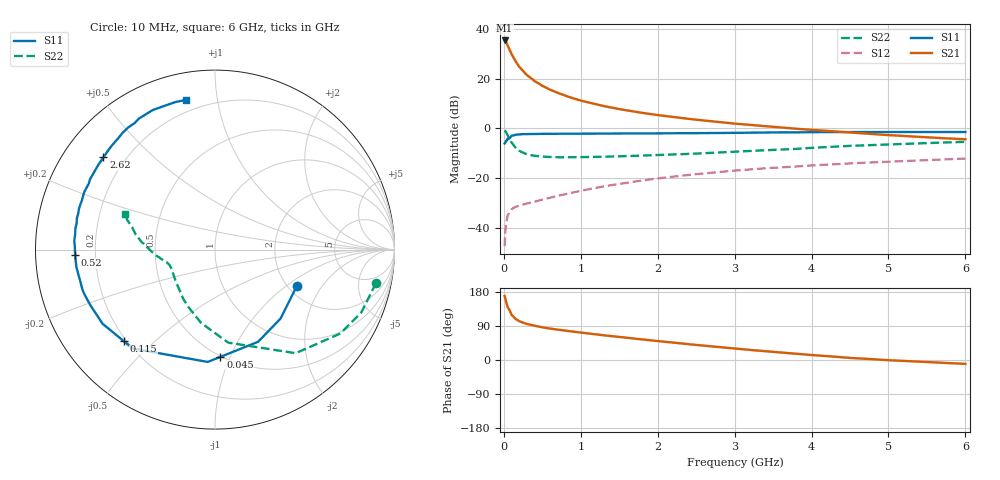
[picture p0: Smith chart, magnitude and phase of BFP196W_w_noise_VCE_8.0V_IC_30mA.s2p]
! (c) 2016  Infineon Technologies AG, Munich
! Infineon Technologies  Discrete & RF Semiconductors
! BFP196W
! VCE = 8.0 V,  IC =  30mA
! Common Emitter S-Parameters:  Jan 2016
# GHz  S  MA  R  50
!  f  S11  S21  S12  S22
! GHz  MAG  ANG  MAG  ANG  MAG  ANG  MAG  ANG
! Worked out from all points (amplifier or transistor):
!   210 points, 10 MHz to 6 GHz, reference 50 ohm
!   highest |S21| = 35.2 dB at 10 MHz (marker M1)
!   |S21| within 3 dB of that: start of sweep to 65.2 MHz
!   unconditionally stable (mu >= 1): 799.6 MHz to 3.503 GHz; 3.72 GHz to 3.82 GHz
!   at 185 MHz: K = 0.40, MSG = 28.2 dB, |S12| = -31.1 dB
!   at 1.52 GHz: K = 1.12, MAG = 12.8 dB, |S12| = -22.1 dB
!   at 6 GHz: K = 0.94, MSG = 3.9 dB, |S12| = -12.0 dB
!   lowest NFmin = 1.40 dB at 500 MHz
!   S11 on the Smith chart (normalised r, x): 10 MHz: 2.24, -1.20; 45 MHz: 0.49, -0.92; 115 MHz: 0.19, -0.40; 520 MHz: 0.12, -0.02; 2.62 GHz: 0.12, +0.36; 6 GHz: 0.14, +0.82
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0.01  0.4993 -23.7  57.8 168.7  0.0044 78.0  0.9164 -11.8
0.02  0.53 -46.4  56.64 161.1  0.0089 72.0  0.8871 -23.3
0.03  0.567 -64.9  53.53 152.9  0.0126 66.7  0.8404 -33.8
0.045  0.5985 -87.1  47.57 142.9  0.0167 56.6  0.7509 -47.1
0.05  0.6272 -93.7  45.96 139.0  0.0182 54.3  0.7314 -52.1
0.1  0.7164 -129.7  30.82 119.0  0.0241 39.4  0.5236 -81.9
0.115  0.7199 -134.9  28.18 116.5  0.0249 37.9  0.4863 -86.6
0.15  0.7504 -146.6  22.31 108.4  0.0269 34.9  0.4159 -100.7
0.2  0.7605 -156.0  17.16 102.4  0.0285 34.8  0.3572 -113.5
0.24  0.7688 -161.0  14.64 99.1  0.0298 35.0  0.3329 -120.7
0.3  0.771 -166.3  11.7 95.0  0.0314 36.4  0.3028 -129.9
0.4  0.778 -172.7  8.875 90.0  0.0342 39.1  0.2838 -139.6
0.52  0.78 -177.8  6.917 85.5  0.0384 43.5  0.2727 -147.1
0.7  0.7857 176.4  5.165 80.1  0.0446 48.0  0.2649 -154.0
1.02  0.7853 168.9  3.553 71.9  0.0573 52.6  0.2668 -160.2
1.4  0.7914 161.4  2.614 63.0  0.0734 54.7  0.2744 -164.0
2.02  0.799 150.4  1.838 49.6  0.1007 54.4  0.2931 -168.3
2.62  0.8063 140.4  1.432 37.5  0.127 51.4  0.3207 -173.0
3.1  0.8188 132.8  1.216 28.6  0.1474 48.0  0.3479 -177.4
4.1  0.8447 119.0  0.915 11.7  0.1855 40.6  0.4166 173.3
5.1  0.8493 108.2  0.721 -1.5  0.2195 33.2  0.4858 164.1
6  0.8496 101.0  0.608 -10.2  0.2498 27.1  0.5396 158.5
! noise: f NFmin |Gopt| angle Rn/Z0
0.5  1.4  0.4  -173  0.08
0.9  1.6  0.5  -166  0.08
1.5  2.4  0.61  -150  0.14
2  2.9  0.71  -129  0.2
